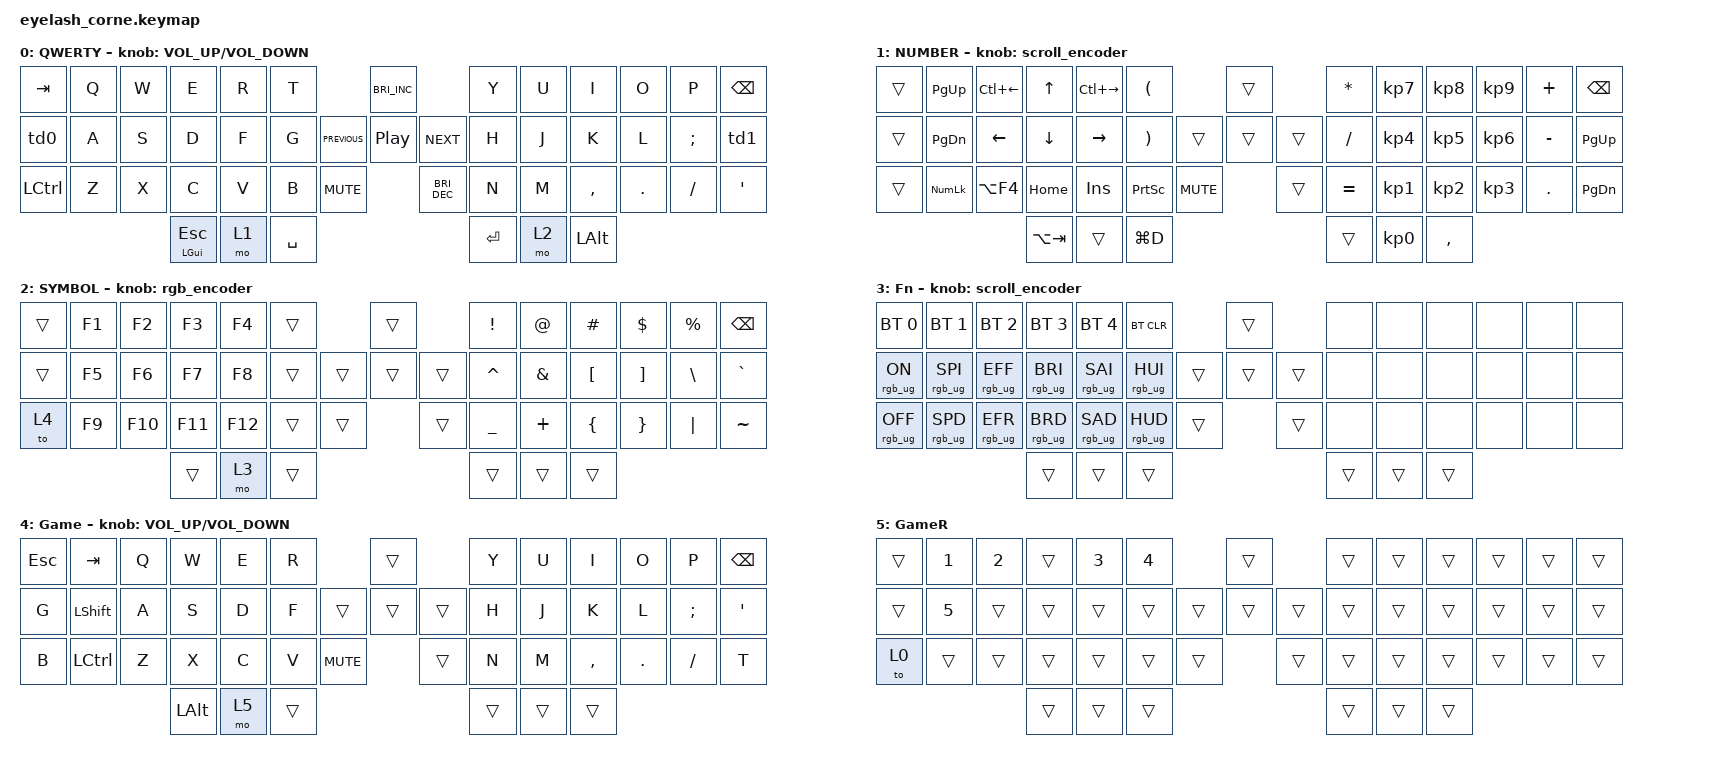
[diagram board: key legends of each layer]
#include <dt-bindings/zmk/mouse.h>
#include <input/processors.dtsi>
#include <behaviors.dtsi>
#include <dt-bindings/zmk/bt.h>
#include <dt-bindings/zmk/keys.h>
#include <dt-bindings/zmk/pointing.h>
#include <dt-bindings/zmk/rgb.h>

/*

   &mmv_input_listener {
       input-processors = <&zip_xy_scaler 2 1>;
   };

   &msc_input_listener {
       input-processors = <&zip_xy_scaler 2 1>;
   };

 */

#define ZMK_MOUSE_DEFAULT_MOVE_VAL 1200  // 600
#define ZMK_MOUSE_DEFAULT_SCRL_VAL 20    // 10

/ {
    behaviors {
        td0: td0 {
            compatible = "zmk,behavior-tap-dance";
            display-name = "Shift/Caps Lock Tap Dance";
            #binding-cells = <0>;
            bindings = <&kp LEFT_SHIFT>, <&kp CAPS>;
        };

        td1: td1 {
            compatible = "zmk,behavior-tap-dance";
            #binding-cells = <0>;
            bindings = <&kp RSHIFT>, <&kp CAPSLOCK>;
        };
    };

    rgb_encoder: rgb_encoder {
        compatible = "zmk,behavior-sensor-rotate";
        #sensor-binding-cells = <0>;
        bindings = <&rgb_ug RGB_BRI>, <&rgb_ug RGB_BRD>;
    };

    scroll_encoder: scroll_encoder {
        compatible = "zmk,behavior-sensor-rotate";
        #sensor-binding-cells = <0>;
        bindings = <&msc SCRL_DOWN>, <&msc SCRL_UP>;

        tap-ms = <30>;
    };

    keymap {
        compatible = "zmk,keymap";

        default_layer {
            display-name = "QWERTY";
            bindings = <
&kp TAB    &kp Q  &kp W  &kp E            &kp R  &kp T                                    &kp C_BRIGHTNESS_INC              &kp Y      &kp U  &kp I         &kp O    &kp P     &kp BSPC
&td0       &kp A  &kp S  &kp D            &kp F  &kp G                    &kp C_PREVIOUS  &kp C_PLAY_PAUSE      &kp C_NEXT  &kp H      &kp J  &kp K         &kp L    &kp SEMI  &td1
&kp LCTRL  &kp Z  &kp X  &kp C            &kp V  &kp B      &kp C_MUTE                    &kp C_BRIGHTNESS_DEC              &kp N      &kp M  &kp COMMA     &kp DOT  &kp FSLH  &kp SQT
                         &mt LGUI ESCAPE  &mo 1  &kp SPACE                                                                  &kp ENTER  &mo 2  &kp LEFT_ALT
            >;

            sensor-bindings = <&inc_dec_kp C_VOLUME_UP C_VOLUME_DOWN>;
        };

        lower_layer {
            display-name = "NUMBER";
            bindings = <
&trans  &kp PAGE_UP     &kp LC(LEFT_ARROW)  &kp UP_ARROW  &kp LC(RIGHT)  &kp LEFT_PARENTHESIS                         &trans          &kp ASTERISK  &kp KP_NUMBER_7  &kp KP_NUMBER_8  &kp KP_NUMBER_9  &kp PLUS    &kp BSPC
&trans  &kp PAGE_DOWN   &kp LEFT_ARROW      &kp DOWN      &kp RIGHT      &kp RIGHT_PARENTHESIS                &trans  &trans  &trans  &kp SLASH     &kp KP_NUMBER_4  &kp KP_NUMBER_5  &kp KP_NUMBER_6  &kp MINUS   &kp PG_UP
&trans  &kp KP_NUMLOCK  &kp LA(F4)          &kp HOME      &kp INS        &kp PRINTSCREEN        &kp C_MUTE            &trans          &kp EQUAL     &kp KP_NUMBER_1  &kp KP_NUMBER_2  &kp KP_NUMBER_3  &kp PERIOD  &kp PG_DN
                                            &kp LA(TAB)   &trans         &kp LG(D)                                                    &trans        &kp KP_NUMBER_0  &kp COMMA
            >;

            sensor-bindings = <&scroll_encoder>;
        };

        raise_layer {
            display-name = "SYMBOL";
            bindings = <
&trans  &kp F1  &kp F2   &kp F3   &kp F4   &trans                    &trans          &kp EXCL   &kp AT         &kp HASH          &kp DOLLAR  &kp PERCENT  &kp BSPC
&trans  &kp F5  &kp F6   &kp F7   &kp F8   &trans            &trans  &trans  &trans  &kp CARET  &kp AMPERSAND  &kp LEFT_BRACKET  &kp RBKT    &kp BSLH     &kp GRAVE
&to 4   &kp F9  &kp F10  &kp F11  &kp F12  &trans  &trans            &trans          &kp UNDER  &kp PLUS       &kp LBRC          &kp RBRC    &kp PIPE     &kp TILDE
                         &trans   &mo 3    &trans                                    &trans     &trans         &trans
            >;

            sensor-bindings = <&rgb_encoder>;
        };

        layer_3 {
            display-name = "Fn";
            bindings = <
&bt BT_SEL 0     &bt BT_SEL 1     &bt BT_SEL 2     &bt BT_SEL 3     &bt BT_SEL 4     &bt BT_CLR                         &trans          &none   &none   &none   &none  &none  &none
&rgb_ug RGB_ON   &rgb_ug RGB_SPI  &rgb_ug RGB_EFF  &rgb_ug RGB_BRI  &rgb_ug RGB_SAI  &rgb_ug RGB_HUI            &trans  &trans  &trans  &none   &none   &none   &none  &none  &none
&rgb_ug RGB_OFF  &rgb_ug RGB_SPD  &rgb_ug RGB_EFR  &rgb_ug RGB_BRD  &rgb_ug RGB_SAD  &rgb_ug RGB_HUD  &trans            &trans          &none   &none   &none   &none  &none  &none
                                                   &trans           &trans           &trans                                             &trans  &trans  &trans
            >;

            sensor-bindings = <&scroll_encoder>;
        };

        layer_4 {
            bindings = <
&kp ESC  &kp TAB    &kp Q  &kp W         &kp E  &kp R                         &trans          &kp Y   &kp U   &kp I      &kp O    &kp P     &kp BSPC
&kp G    &kp LSHFT  &kp A  &kp S         &kp D  &kp F                 &trans  &trans  &trans  &kp H   &kp J   &kp K      &kp L    &kp SEMI  &kp SQT
&kp B    &kp LCTRL  &kp Z  &kp X         &kp C  &kp V   &kp K_MUTE            &trans          &kp N   &kp M   &kp COMMA  &kp DOT  &kp FSLH  &kp T
                           &kp LEFT_ALT  &mo 5  &trans                                        &trans  &trans  &trans
            >;

            label = "Game";
            sensor-bindings = <&inc_dec_kp C_VOLUME_UP C_VOLUME_DOWN>;
        };

        layer_5 {
            bindings = <
&trans  &kp N1  &kp N2  &trans  &kp N3  &kp N4                    &trans          &trans  &trans  &trans  &trans  &trans  &trans
&trans  &kp N5  &trans  &trans  &trans  &trans            &trans  &trans  &trans  &trans  &trans  &trans  &trans  &trans  &trans
&to 0   &trans  &trans  &trans  &trans  &trans  &trans            &trans          &trans  &trans  &trans  &trans  &trans  &trans
                        &trans  &trans  &trans                                    &trans  &trans  &trans
            >;

            label = "GameR";
        };
    };
};
